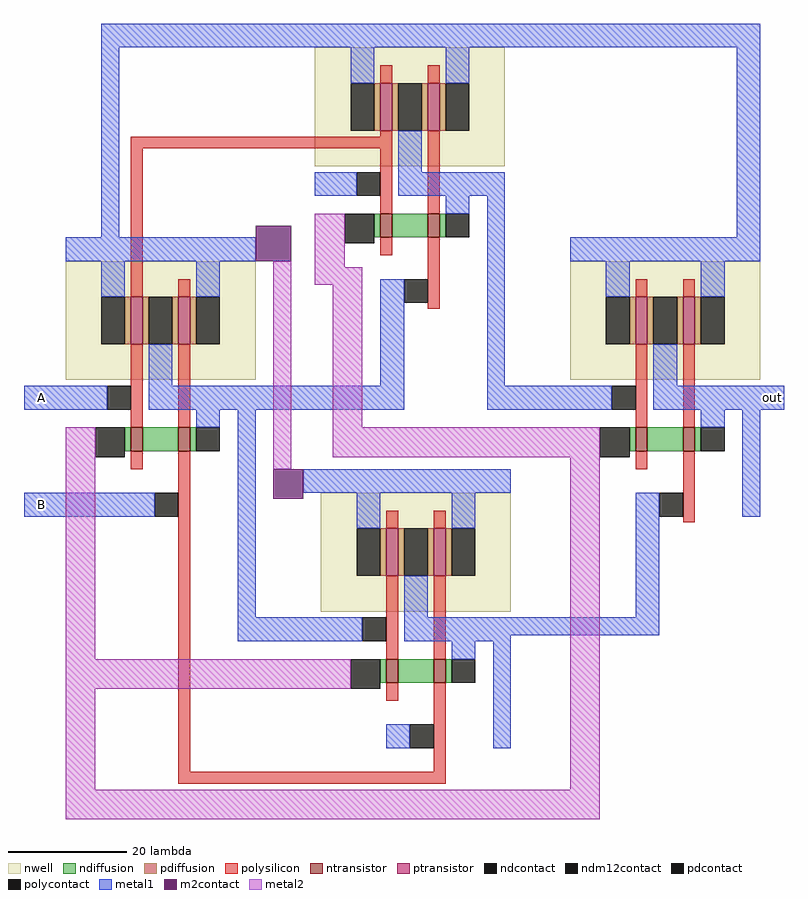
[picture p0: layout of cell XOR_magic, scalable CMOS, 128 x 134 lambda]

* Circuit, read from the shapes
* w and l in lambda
.subckt XOR_magic A B GND VDD out
M1 n1 A GND VSUBS nfet w=4 l=2
M2 NAND_magic_3/A B n1 VSUBS nfet w=4 l=2
M3 n2 A GND VSUBS nfet w=4 l=2
M4 n3 NAND_magic_3/A GND VSUBS nfet w=4 l=2
M5 NAND_magic_2/A NAND_magic_3/A n2 VSUBS nfet w=4 l=2
M6 NAND_magic_2/B B n3 VSUBS nfet w=4 l=2
M7 n4 NAND_magic_2/A GND VSUBS nfet w=4 l=2
M8 out NAND_magic_2/B n4 VSUBS nfet w=4 l=2
M9 NAND_magic_3/A A VDD n5 pfet w=8 l=2
M10 VDD B NAND_magic_3/A n5 pfet w=8 l=2
M11 NAND_magic_2/A A VDD n6 pfet w=8 l=2
M12 NAND_magic_2/B NAND_magic_3/A VDD n7 pfet w=8 l=2
M13 VDD NAND_magic_3/A NAND_magic_2/A n6 pfet w=8 l=2
M14 VDD B NAND_magic_2/B n7 pfet w=8 l=2
M15 out NAND_magic_2/A VDD n8 pfet w=8 l=2
M16 VDD NAND_magic_2/B out n8 pfet w=8 l=2
.ends

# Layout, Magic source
magic
tech scmos
<< polysilicon >>
rect 18 50 62 52
rect 18 26 20 50
rect 26 -55 28 -12
rect 69 -55 71 -51
rect 26 -57 71 -55
<< metal1 >>
rect 13 67 49 71
rect 81 67 124 71
rect 13 35 16 67
rect 120 35 124 67
rect 60 10 64 24
rect 0 6 7 10
rect 38 6 64 10
rect 78 10 81 24
rect 78 6 92 10
rect 124 6 128 10
rect 0 -12 18 -8
rect 47 -8 53 -4
rect 36 -29 39 -12
rect 103 -29 107 -12
rect 36 -33 50 -29
rect 82 -32 107 -29
<< m2contact >>
rect 39 31 45 37
rect 42 -9 47 -4
<< metal2 >>
rect 7 -36 12 -2
rect 42 -4 45 31
rect 49 30 54 34
rect 49 27 57 30
rect 52 3 57 27
rect 52 -2 92 3
rect 7 -41 50 -36
rect 7 -58 12 -41
rect 92 -58 97 -2
rect 7 -63 97 -58
use NAND_magic  NAND_magic_3
transform 1 0 50 0 1 -28
box 0 -24 32 24
use NAND_magic  NAND_magic_2
transform 1 0 92 0 1 11
box 0 -24 32 24
use NAND_magic  NAND_magic_1
transform 1 0 49 0 1 47
box 0 -24 32 24
use NAND_magic  NAND_magic_0
transform 1 0 7 0 1 11
box 0 -24 32 24
<< labels >>
rlabel metal1 3 8 3 8 3 A
rlabel metal1 3 -10 3 -10 3 B
rlabel metal1 126 8 126 8 7 out
<< end >>

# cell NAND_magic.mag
magic
tech scmos
<< nwell >>
rect 0 0 32 20
<< ntransistor >>
rect 11 -12 13 -8
rect 19 -12 21 -8
<< ptransistor >>
rect 11 6 13 14
rect 19 6 21 14
<< ndiffusion >>
rect 10 -12 11 -8
rect 13 -12 19 -8
rect 21 -12 22 -8
<< pdiffusion >>
rect 10 6 11 14
rect 13 6 14 14
rect 18 6 19 14
rect 21 6 22 14
<< ndcontact >>
rect 22 -12 26 -8
<< pdcontact >>
rect 6 6 10 14
rect 14 6 18 14
rect 22 6 26 14
<< polysilicon >>
rect 11 14 13 17
rect 19 14 21 17
rect 11 -8 13 6
rect 19 -8 21 6
rect 11 -15 13 -12
rect 19 -24 21 -12
<< polycontact >>
rect 7 -5 11 -1
rect 15 -23 19 -19
<< metal1 >>
rect 0 20 32 24
rect 6 14 10 20
rect 22 14 26 20
rect 14 -1 18 6
rect 0 -5 7 -1
rect 14 -5 32 -1
rect 22 -8 26 -5
rect 11 -23 15 -19
rect 29 -23 32 -5
<< ndm12contact >>
rect 5 -13 10 -8
<< metal2 >>
rect 0 -13 5 -8
<< labels >>
rlabel metal1 0 20 32 24 5 VDD
rlabel metal2 0 -13 5 -8 3 GND
rlabel metal1 3 -3 3 -3 3 A
rlabel metal1 13 -21 13 -21 1 B
rlabel metal1 31 -21 31 -21 7 out
<< end >>
